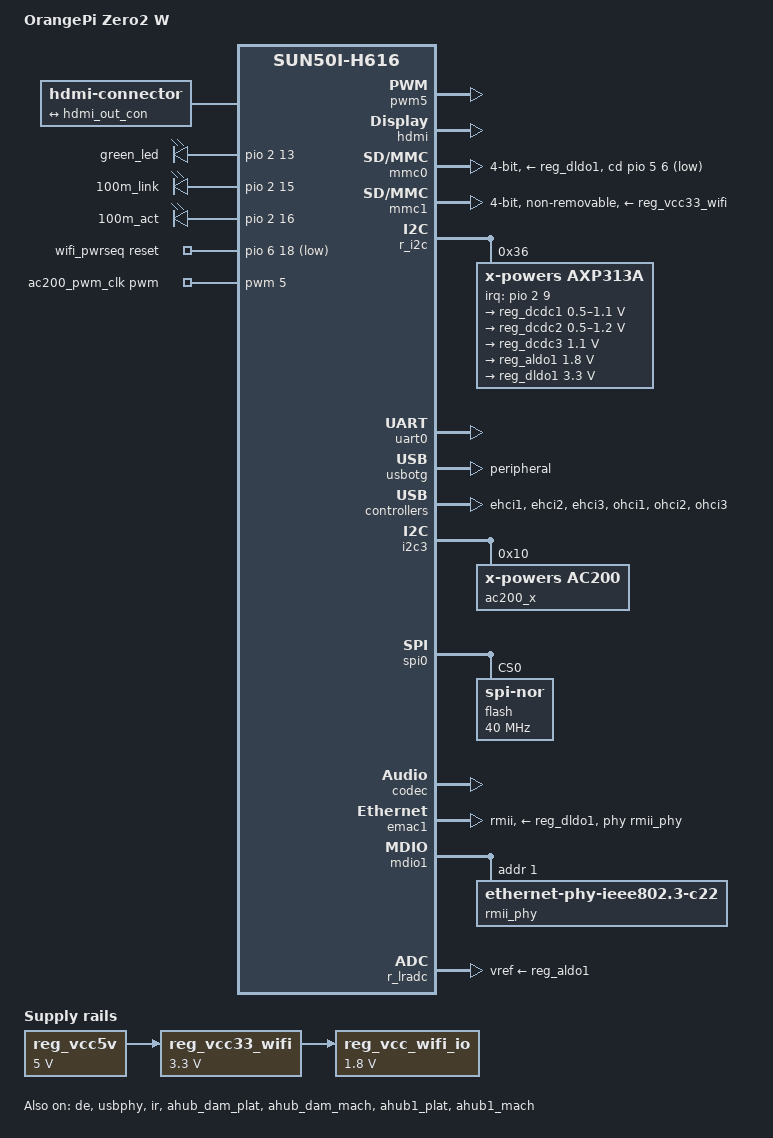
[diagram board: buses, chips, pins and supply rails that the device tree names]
// SPDX-License-Identifier: (GPL-2.0+ or MIT)
/*
 * Copyright (C) 2020 Arm Ltd.
 */

/dts-v1/;

#include "sun50i-h616.dtsi"
#include "sun50i-h616-cpu-opp.dtsi"

#include <dt-bindings/gpio/gpio.h>
#include <dt-bindings/interrupt-controller/arm-gic.h>
#include <dt-bindings/input/input.h>
#include <dt-bindings/leds/common.h>

/ {
	model = "OrangePi Zero2 W";
	compatible = "xunlong,orangepi-zero2w", "allwinner,sun50i-h616";

	aliases {
		serial0 = &uart0;
		serial2 = &uart2;
		serial3 = &uart3;
		serial4 = &uart4;
		serial5 = &uart5;
		ethernet0 = &emac1;
	};

	chosen {
		stdout-path = "serial0:115200n8";
	};

	connector {
		compatible = "hdmi-connector";
		type = "d";

		port {
			hdmi_con_in: endpoint {
				remote-endpoint = <&hdmi_out_con>;
			};
		};
	};

	leds: leds {
		compatible = "gpio-leds";

		led-green {
			label = "green_led";
			gpios = <&pio 2 13 GPIO_ACTIVE_HIGH>; /* PC13 */
			linux,default-trigger = "heartbeat";
		};

		100m_link {
			label = "100m_link";
			gpios = <&pio 2 15 GPIO_ACTIVE_HIGH>; /* PC15 */
			default-state = "off";
		};

		100m_act {
			label = "100m_act";
			gpios = <&pio 2 16 GPIO_ACTIVE_HIGH>; /* PC16 */
			default-state = "off";
		};
	};

	reg_vcc5v: vcc5v {
		/* board wide 5V supply directly from the USB-C socket */
		compatible = "regulator-fixed";
		regulator-name = "vcc-5v";
		regulator-min-microvolt = <5000000>;
		regulator-max-microvolt = <5000000>;
		regulator-always-on;
	};

	reg_vcc33_wifi: vcc33-wifi {
		/* Always on 3.3V regulator for WiFi and BT */
		compatible = "regulator-fixed";
		regulator-name = "vcc33-wifi";
		regulator-min-microvolt = <3300000>;
		regulator-max-microvolt = <3300000>;
		regulator-always-on;
		vin-supply = <&reg_vcc5v>;
	};

	reg_vcc_wifi_io: vcc-wifi-io {
		/* Always on 1.8V/300mA regulator for WiFi and BT IO */
		compatible = "regulator-fixed";
		regulator-name = "vcc-wifi-io";
		regulator-min-microvolt = <1800000>;
		regulator-max-microvolt = <1800000>;
		regulator-always-on;
		vin-supply = <&reg_vcc33_wifi>;
	};

	wifi_pwrseq: wifi-pwrseq {
		compatible = "mmc-pwrseq-simple";
		clocks = <&rtc 1>;
		clock-names = "osc32k-out";
		reset-gpios = <&pio 6 18 GPIO_ACTIVE_LOW>; /* PG18 */
		post-power-on-delay-ms = <200>;
	};

	ac200_pwm_clk: ac200_clk {
		compatible = "pwm-clock";
		#clock-cells = <0>;
		// pwm5 period_ns = 500 > 334 for select 24M clock.
		pwms = <&pwm 5 500 0>;
		clock-frequency = <2000000>;
		status = "okay";
	};
};

&pwm5 {
	// clk_bypass_output = 1 for Clock direct output without frequency division
	// so pwm5 output is 24MHz for AC200 & AC300 clock
	clk_bypass_output = <0x1>;
	status = "okay";
};

&de {
	status = "okay";
};

&hdmi {
	//hvcc-supply = <&reg_bldo1>;
	status = "okay";
};

&hdmi_out {
	hdmi_out_con: endpoint {
		remote-endpoint = <&hdmi_con_in>;
	};
};

&gpu {
	mali-supply = <&reg_dcdc1>;
	status = "disabled";
};

&mmc0 {
	vmmc-supply = <&reg_dldo1>;
	cd-gpios = <&pio 5 6 GPIO_ACTIVE_LOW>;	/* PF6 */
	bus-width = <4>;
	max-frequency = <50000000>;
	status = "okay";
};

&mmc1 {
	vmmc-supply = <&reg_vcc33_wifi>;
	vqmmc-supply = <&reg_vcc_wifi_io>;
	mmc-pwrseq = <&wifi_pwrseq>;
	bus-width = <4>;
	non-removable;
	mmc-ddr-1_8v;
	status = "okay";
};

&r_i2c {
	status = "okay";

	axp313a: pmic@36 {
		compatible = "x-powers,axp313a";
		reg = <0x36>;
		wakeup-source;

		interrupt-parent = <&pio>;
		interrupts = <2 9 IRQ_TYPE_LEVEL_LOW>; /* PC9 */
		interrupt-controller;
		#interrupt-cells = <1>;

		regulators{
			reg_dcdc1: dcdc1 {
				regulator-name = "axp313a-dcdc1";
				regulator-min-microvolt = <500000>;
				regulator-max-microvolt = <1100000>;
				regulator-step-delay-us = <25>;
				regulator-final-delay-us = <50>;
				regulator-always-on;
			};

			reg_dcdc2: dcdc2 {
				regulator-name = "axp313a-dcdc2";
				regulator-min-microvolt = <500000>;
				regulator-max-microvolt = <1200000>;
				regulator-step-delay-us = <25>;
				regulator-final-delay-us = <50>;
				regulator-ramp-delay = <200>;
				regulator-always-on;
			};

			reg_dcdc3: dcdc3 {
				regulator-name = "axp313a-dcdc3";
				regulator-min-microvolt = <1100000>;
				regulator-max-microvolt = <1100000>;
				regulator-step-delay-us = <25>;
				regulator-final-delay-us = <50>;
				regulator-always-on;
			};

			reg_aldo1: ldo1 {
				regulator-name = "axp313a-aldo1";
				regulator-min-microvolt = <1800000>;
				regulator-max-microvolt = <1800000>;
				regulator-step-delay-us = <25>;
				regulator-final-delay-us = <50>;
				regulator-always-on;
			};

			reg_dldo1: ldo2 {
				regulator-name = "axp313a-dldo1";
				regulator-min-microvolt = <3300000>;
				regulator-max-microvolt = <3300000>;
				regulator-step-delay-us = <25>;
				regulator-final-delay-us = <50>;
				regulator-always-on;
			};
		};
	};
};

&uart0 {
	pinctrl-names = "default";
	pinctrl-0 = <&uart0_ph_pins>;
	status = "okay";
};

&usbotg {
	/*
	 * PHY0 pins are connected to a USB-C socket, but a role switch
	 * is not implemented: both CC pins are pulled to GND.
	 * The VBUS pins power the device, so a fixed peripheral mode
	 * is the best choice.
	 * The board can be powered via GPIOs, in this case port0 *can*
	 * act as a host (with a cable/adapter ignoring CC), as VBUS is
	 * then provided by the GPIOs. Any user of this setup would
	 * need to adjust the DT accordingly: dr_mode set to "host",
	 * enabling OHCI0 and EHCI0.
	 */
	dr_mode = "peripheral";
	status = "okay";
};

&usbphy {
	status = "okay";
};

&ehci0 {
	status = "disabled";
};

&ehci1 {
	status = "okay";
};

&ehci2 {
	status = "okay";
};

&ehci3 {
	status = "okay";
};

&ohci0 {
	status = "disabled";
};

&ohci1 {
	status = "okay";
};

&ohci2 {
	status = "okay";
};

&ohci3 {
	status = "okay";
};

&ir {
	pinctrl-names = "default";
	pinctrl-0 = <&ir_rx_pin>;
	status = "okay";
};

&i2c0 {
	pinctrl-names = "default";
	pinctrl-0 = <&i2c0_pi_pins>;
	status = "disabled";
};

&i2c1 {
	pinctrl-names = "default";
	pinctrl-0 = <&i2c1_pi_pins>;
	status = "disabled";
};

&i2c2 {
	pinctrl-names = "default";
	pinctrl-0 = <&i2c2_pi_pins>;
	status = "disabled";
};

&i2c3 {
	status = "okay";
	pinctrl-names = "default";
	pinctrl-0 = <&i2c3_pa_pins>;

	ac200_x: mfd@10 {
		compatible = "x-powers,ac200";
		reg = <0x10>;
		clocks = <&ac200_pwm_clk>;
		// ephy id
		nvmem-cells = <&ephy_calibration>;
		nvmem-cell-names = "calibration";

		ac200_ephy: phy {
			compatible = "x-powers,ac200-ephy";
			status = "okay";
		};
	};
};

&i2c4 {
	pinctrl-names = "default";
	pinctrl-0 = <&i2c4_ph_pins>;
	status = "disabled";
};

&uart2 {
	pinctrl-names = "default";
	pinctrl-0 = <&uart2_pi_pins>;
	status = "disabled";
};

&uart3 {
	pinctrl-names = "default";
	pinctrl-0 = <&uart3_pi_pins>;
	status = "disabled";
};

&uart4 {
	pinctrl-names = "default";
	pinctrl-0 = <&uart4_pi_pins>;
	status = "disabled";
};

&uart5 {
	pinctrl-names = "default";
	pinctrl-0 = <&uart5_ph_pins>;
	status = "disabled";
};

&spi0  {
	status = "okay";
	pinctrl-names = "default";
	pinctrl-0 = <&spi0_pins>, <&spi0_cs0_pin>;

	spidev@0 {
		status = "disabled";
		compatible = "rohm,dh2228fv";
		reg = <0>;
		spi-max-frequency = <1000000>;
	};

	flash@0 {
		status = "okay";
		#address-cells = <1>;
		#size-cells = <1>;
		compatible = "jedec,spi-nor";
		reg = <0>;
		spi-max-frequency = <40000000>;
	};
};

&spi1 {
	status = "disabled";
	#address-cells = <1>;
	#size-cells = <0>;
	pinctrl-names = "default";
	pinctrl-0 = <&spi1_pins>, <&spi1_cs1_pin>;

	spidev@1 {
		compatible = "rohm,dh2228fv";
		status = "disabled";
		reg = <1>;
		spi-max-frequency = <1000000>;
	};
};

&codec {
	allwinner,audio-routing =
	        "Line Out", "LINEOUT";
	status = "okay";
};

&ahub_dam_plat {
	status = "okay";
};

&ahub_dam_mach {
	status = "okay";
};

&ahub1_plat {
	status = "okay";
};

&ahub1_mach {
	status = "okay";
};

&cpu0 {
	cpu-supply = <&reg_dcdc2>;
	status = "okay";
};

&pwm1 {
	pinctrl-names = "default";
	pinctrl-0 = <&pwm1_pi_pin>;
};

&pwm2 {
	pinctrl-names = "default";
	pinctrl-0 = <&pwm2_pi_pin>;
};

&pwm3 {
	pinctrl-names = "default";
	pinctrl-0 = <&pwm3_pi_pin>;
};

&pwm4 {
	pinctrl-names = "default";
	pinctrl-0 = <&pwm4_pi_pin>;
};

&emac1 {
	pinctrl-names = "default";
	pinctrl-0 = <&rmii_pins>;
	phy-mode = "rmii";
	phy-handle = <&rmii_phy>;
	phy-supply = <&reg_dldo1>;
	allwinner,rx-delay-ps = <3100>;
	allwinner,tx-delay-ps = <700>;
	status = "okay";
};

&mdio1 {
	rmii_phy: ethernet-phy@1 {
		compatible = "ethernet-phy-ieee802.3-c22";
		reg = <1>;
	};
};

&r_lradc {
	vref-supply = <&reg_aldo1>;
	status = "okay";

	button-500 {
		label = "KEY_1";
		linux,code = <KEY_1>;
		channel = <0>;
		voltage = <500000>;
	};

	button-800 {
		label = "KEY_ENTER";
		linux,code = <KEY_ENTER>;
		channel = <0>;
		voltage = <800000>;
	};
};
